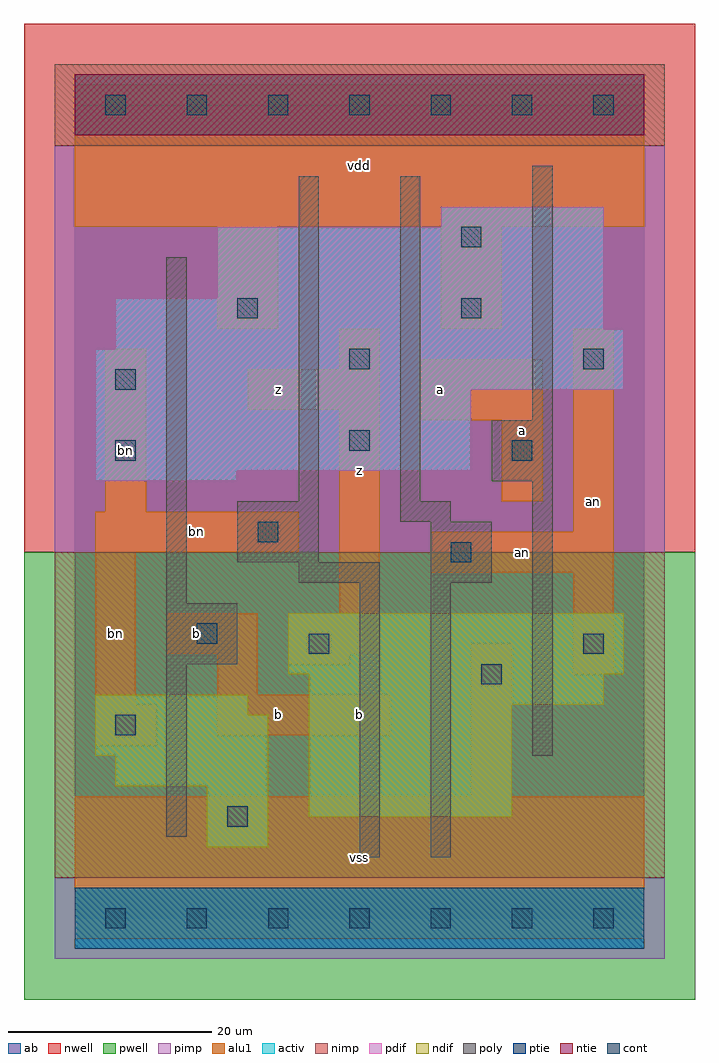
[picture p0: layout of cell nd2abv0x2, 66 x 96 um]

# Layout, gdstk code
import gdstk
lib = gdstk.Library(unit=1e-6, precision=1e-09)
def R(c, l, rs):  # rectangles x0, y0, x1, y1
    for r in rs: c.add(gdstk.rectangle(r[:2], r[2:], *l))
def A(c, l, x, y, w, h, nx, ny, dx, dy):  # array of equal rectangles
    R(c, l, [(x+i*dx, y+j*dy, x+i*dx+w, y+j*dy+h) for i in range(nx) for j in range(ny)])
ndif = (3, 0)
pdif = (4, 0)
ntie = (5, 0)
ptie = (6, 0)
cont = (25, 0)
pwell = (41, 0)
nwell = (42, 0)
activ = (43, 0)
pimp = (44, 0)
nimp = (45, 0)
poly = (46, 0)
alu1 = (49, 0)
ab = (63, 0)

nd2abv0x2 = lib.new_cell('nd2abv0x2')
R(nd2abv0x2, ndif, [(13,7,19,13), (23,10,43,21), (4,13,19,16), (2,16,19,20), (2,20,17,22), (23,21,52,24), (21,24,54,30)])
R(nd2abv0x2, pdif, [(2,43,16,44), (2,44,39,52), (2,52,54,56), (4,56,54,58), (4,58,52,61), (14,61,52,68), (36,68,52,70)])
R(nd2abv0x2, ntie, [(0,77,56,83)])
R(nd2abv0x2, ptie, [(0,-3,56,3)])
A(nd2abv0x2, cont, 3, -1, 2, 2, 7, 2, 8, 80)
R(nd2abv0x2, cont, [(15,9,17,11), (4,18,6,20), (40,23,42,25), (23,26,25,28), (50,26,52,28), (12,27,14,29), (37,35,39,37), (18,37,20,39), (4,45,6,47), (43,45,45,47), (27,46,29,48), (4,52,6,54), (27,54,29,56), (50,54,52,56), (16,59,18,61), (38,59,40,61), (38,66,40,68)])
R(nd2abv0x2, pwell, [(-5,-8,61,36)])
R(nd2abv0x2, nwell, [(-5,36,61,88)])
R(nd2abv0x2, activ, [(0,-3,56,3), (13,7,19,13), (23,10,43,21), (4,13,19,16), (2,16,19,20), (2,20,17,22), (23,21,52,24), (21,24,54,30), (2,43,16,44), (2,44,39,52), (2,52,54,56), (4,56,54,58), (4,58,52,61), (14,61,52,68), (36,68,52,70), (0,77,56,83)])
R(nd2abv0x2, pimp, [(-2,-4,58,4), (-2,36,58,76)])
R(nd2abv0x2, nimp, [(-2,4,58,36), (-2,76,58,84)])
R(nd2abv0x2, poly, [(28,6,30,33), (35,6,37,33), (9,8,11,25), (45,16,47,43), (9,25,16,31), (9,31,11,65), (22,33,30,35), (35,33,41,39), (16,35,24,41), (32,39,37,41), (22,41,24,73), (32,41,34,73), (41,43,47,49), (45,49,47,74)])
R(nd2abv0x2, alu1, [(0,-2,56,12), (39,12,43,27), (2,17,8,21), (14,18,31,22), (2,21,6,36), (14,22,18,26), (49,24,53,34), (21,25,27,26), (9,26,18,30), (21,26,30,30), (26,30,30,50), (35,34,53,38), (2,36,22,40), (49,38,53,58), (3,40,7,56), (42,41,46,49), (34,49,46,55), (17,50,30,54), (26,54,30,58), (14,58,20,68), (36,58,42,68), (0,68,56,82)])
R(nd2abv0x2, ab, [(0,0,56,80)])
nd2abv0x2.add(gdstk.Label('bn', (5,46), layer=49, texttype=0))
nd2abv0x2.add(gdstk.Label('bn', (4,28), layer=49, texttype=0))
nd2abv0x2.add(gdstk.Label('bn', (12,38), layer=49, texttype=0))
nd2abv0x2.add(gdstk.Label('an', (44,36), layer=49, texttype=0))
nd2abv0x2.add(gdstk.Label('an', (51,41), layer=49, texttype=0))
nd2abv0x2.add(gdstk.Label('b', (20,20), layer=49, texttype=0))
nd2abv0x2.add(gdstk.Label('b', (12,28), layer=49, texttype=0))
nd2abv0x2.add(gdstk.Label('z', (20,52), layer=49, texttype=0))
nd2abv0x2.add(gdstk.Label('vss', (28,6), layer=49, texttype=0))
nd2abv0x2.add(gdstk.Label('b', (28,20), layer=49, texttype=0))
nd2abv0x2.add(gdstk.Label('z', (28,44), layer=49, texttype=0))
nd2abv0x2.add(gdstk.Label('a', (36,52), layer=49, texttype=0))
nd2abv0x2.add(gdstk.Label('vdd', (28,74), layer=49, texttype=0))
nd2abv0x2.add(gdstk.Label('a', (44,48), layer=49, texttype=0))

lib.write_gds('nd2abv0x2.gds')
